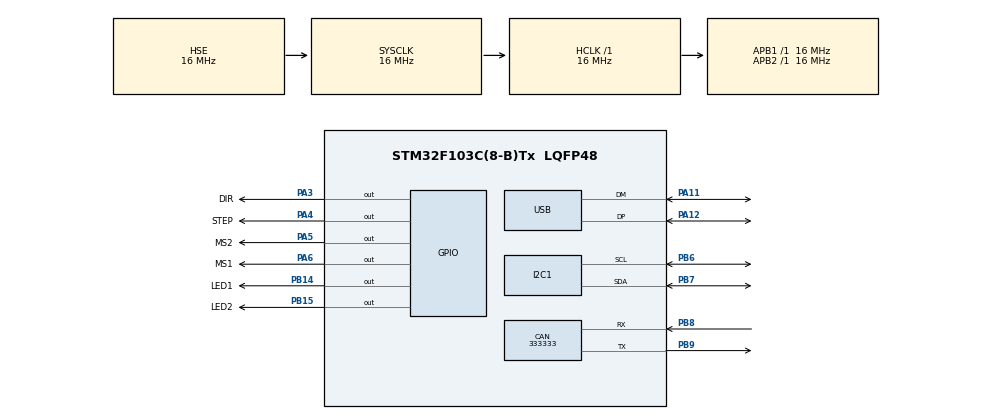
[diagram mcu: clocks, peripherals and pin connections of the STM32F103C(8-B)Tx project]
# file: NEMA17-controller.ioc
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CAN.CalculateBaudRate=333333
CAN.CalculateTimeBit=3000
CAN.CalculateTimeQuantum=1000.0
Mcu.Family=STM32F1
Mcu.Name=STM32F103C(8-B)Tx
Mcu.Package=LQFP48
NVIC.PriorityGroup=NVIC_PRIORITYGROUP_4
NVIC.USB_LP_CAN1_RX0_IRQn=true\:0\:0\:false\:false\:true\:false\:true\:true
PA11.Mode=Device
PA11.Signal=USB_DM
PA12.Mode=Device
PA12.Signal=USB_DP
PA13.Mode=Serial_Wire
PA13.Signal=SYS_JTMS-SWDIO
PA14.Mode=Serial_Wire
PA14.Signal=SYS_JTCK-SWCLK
PA3.GPIO_Label=DIR
PA3.Signal=GPIO_Output
PA4.GPIO_Label=STEP
PA4.Signal=GPIO_Output
PA5.GPIO_Label=MS2
PA5.Signal=GPIO_Output
PA6.GPIO_Label=MS1
PA6.Signal=GPIO_Output
PB14.GPIO_Label=LED1
PB14.Signal=GPIO_Output
PB15.GPIO_Label=LED2
PB15.Signal=GPIO_Output
PB6.Mode=I2C
PB6.Signal=I2C1_SCL
PB7.Mode=I2C
PB7.Signal=I2C1_SDA
PB8.Mode=CAN_Activate
PB8.Signal=CAN_RX
PB9.Mode=CAN_Activate
PB9.Signal=CAN_TX
PD0-OSC_IN.Mode=HSE-External-Oscillator
PD0-OSC_IN.Signal=RCC_OSC_IN
PD1-OSC_OUT.Mode=HSE-External-Oscillator
PD1-OSC_OUT.Signal=RCC_OSC_OUT
ProjectManager.HeapSize=0x200
ProjectManager.StackSize=0x400
ProjectManager.TargetToolchain=CMake
RCC.AHBFreq_Value=16000000
RCC.APB1Freq_Value=16000000
RCC.APB1TimFreq_Value=16000000
RCC.APB2Freq_Value=16000000
RCC.APB2TimFreq_Value=16000000
RCC.HCLKFreq_Value=16000000
RCC.HSE_VALUE=16000000
RCC.PLLMUL=RCC_PLL_MUL3
RCC.SYSCLKFreq_VALUE=16000000
RCC.SYSCLKSource=RCC_SYSCLKSOURCE_HSE
RCC.USBFreq_Value=48000000
TIM2.Prescaler=15
USB_DEVICE.CLASS_NAME_FS=DFU
USB_DEVICE.VirtualMode=Dfu
USB_DEVICE.VirtualModeFS=Dfu_FS
VP_TIM2_VS_ClockSourceINT.Mode=Internal
VP_USB_DEVICE_VS_USB_DEVICE_DFU_FS.Mode=DFU_FS
board=custom

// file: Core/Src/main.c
/* USER CODE BEGIN Header */
/**
  ******************************************************************************
  * @file           : main.c
  * @brief          : Main program body
  ******************************************************************************
  * @attention
  *
  * Copyright (c) 2025 STMicroelectronics.
  * All rights reserved.
  *
  * This software is licensed under terms that can be found in the LICENSE file
  * in the root directory of this software component.
  * If no LICENSE file comes with this software, it is provided AS-IS.
  *
  ******************************************************************************
  */
/* USER CODE END Header */
#include "main.h"
#include "stm32f1xx_hal.h"
#include "usb_device.h"

/* USER CODE BEGIN PM */
#define STEP_WRITE(x) HAL_GPIO_WritePin(STEP_GPIO_Port, STEP_Pin, (x)?GPIO_PIN_SET:GPIO_PIN_RESET)
#define DIR_FWD()     HAL_GPIO_WritePin(DIR_GPIO_Port,  DIR_Pin,  GPIO_PIN_SET)
#define DIR_REV()     HAL_GPIO_WritePin(DIR_GPIO_Port,  DIR_Pin,  GPIO_PIN_RESET)
//#define EN_ON()       HAL_GPIO_WritePin(EN_GPIO_Port,   EN_Pin,   GPIO_PIN_RESET)
//#define EN_OFF()      HAL_GPIO_WritePin(EN_GPIO_Port,   EN_Pin,   GPIO_PIN_SET)

/* USER CODE END PM */

CAN_HandleTypeDef hcan;

I2C_HandleTypeDef hi2c1;

TIM_HandleTypeDef htim2;

/* USER CODE BEGIN PV */
uint8_t RX_Buffer [1] ; // DATA to receive

/* USER CODE END PV */

void SystemClock_Config(void);
static void MX_GPIO_Init(void);
static void MX_CAN_Init(void);
static void MX_I2C1_Init(void);
static void MX_TIM2_Init(void);

/* USER CODE BEGIN 0 */
static inline void delay_us(uint32_t us)
{
    uint16_t start = __HAL_TIM_GET_COUNTER(&htim2);
    while ((uint16_t)(__HAL_TIM_GET_COUNTER(&htim2) - start) < us) {
        //__NOP();
    }
}

static inline void STEP_PULSE_US(uint16_t high_us, uint16_t low_us)
{
    STEP_WRITE(1);
    delay_us(high_us);
    STEP_WRITE(0);
    delay_us(low_us);
}

void Stepper_MoveSteps(uint32_t steps, int dir, uint16_t step_high_us, uint16_t step_low_us)
{
    if (dir >= 0) { DIR_FWD(); } else { DIR_REV(); }

    //EN_ON();                 // TMC2209 enable is active-low
    delay_us(10);            // tiny settle

    for (uint32_t i = 0; i < steps; i++) {
        STEP_PULSE_US(step_high_us, step_low_us);
    }

    //EN_OFF();                // optional: disable when done
}

/* USER CODE END 0 */

int main(void)
{

  /* MCU Configuration--------------------------------------------------------*/

  /* Reset of all peripherals, Initializes the Flash interface and the Systick. */
  HAL_Init();

  /* Configure the system clock */
  SystemClock_Config();

  /* Initialize all configured peripherals */
  MX_GPIO_Init();
  MX_CAN_Init();
  MX_I2C1_Init();
  MX_USB_DEVICE_Init();
  MX_TIM2_Init();
  /* USER CODE BEGIN 2 */
  HAL_TIM_Base_Start(&htim2);  // start 1 MHz timer
  HAL_I2C_Slave_Receive_IT(&hi2c1 ,(uint8_t *)RX_Buffer, 1); //Receiving in Interrupt mode
  HAL_Delay(100);

  // One-time initial states (run once after init)
  DIR_FWD();         // set default direction
  STEP_WRITE(0);     // make sure STEP starts low
  HAL_GPIO_WritePin(LED2_GPIO_Port, LED2_Pin, GPIO_PIN_SET); // Turn on LED2 to indicate ready

  /* USER CODE END 2 */

  /* Infinite loop */
  /* USER CODE BEGIN WHILE */
  while (1)
  {
    HAL_GPIO_TogglePin(LED1_GPIO_Port, LED1_Pin); // Toggle LED1
    HAL_Delay(100);
    HAL_GPIO_TogglePin(LED2_GPIO_Port, LED2_Pin); // Toggle LED2
    HAL_Delay(100);

    /* USER CODE END WHILE */

    /* USER CODE BEGIN 3 */
    Stepper_MoveSteps(1600, +1, 3, 997);  // ~1 kHz steps, 3 µs high
    HAL_Delay(500);
    Stepper_MoveSteps(1600, -1, 3, 997);
    HAL_Delay(500);
  }
  /* USER CODE END 3 */
}

void SystemClock_Config(void)
{
  RCC_OscInitTypeDef RCC_OscInitStruct = {0};
  RCC_ClkInitTypeDef RCC_ClkInitStruct = {0};
  RCC_PeriphCLKInitTypeDef PeriphClkInit = {0};

  /** Initializes the RCC Oscillators according to the specified parameters
  * in the RCC_OscInitTypeDef structure.
  */
  RCC_OscInitStruct.OscillatorType = RCC_OSCILLATORTYPE_HSE;
  RCC_OscInitStruct.HSEState = RCC_HSE_ON;
  RCC_OscInitStruct.HSEPredivValue = RCC_HSE_PREDIV_DIV1;
  RCC_OscInitStruct.HSIState = RCC_HSI_ON;
  RCC_OscInitStruct.PLL.PLLState = RCC_PLL_ON;
  RCC_OscInitStruct.PLL.PLLSource = RCC_PLLSOURCE_HSE;
  RCC_OscInitStruct.PLL.PLLMUL = RCC_PLL_MUL3;
  if (HAL_RCC_OscConfig(&RCC_OscInitStruct) != HAL_OK)
  {
    Error_Handler();
  }

  /** Initializes the CPU, AHB and APB buses clocks
  */
  RCC_ClkInitStruct.ClockType = RCC_CLOCKTYPE_HCLK|RCC_CLOCKTYPE_SYSCLK
                              |RCC_CLOCKTYPE_PCLK1|RCC_CLOCKTYPE_PCLK2;
  RCC_ClkInitStruct.SYSCLKSource = RCC_SYSCLKSOURCE_HSE;
  RCC_ClkInitStruct.AHBCLKDivider = RCC_SYSCLK_DIV1;
  RCC_ClkInitStruct.APB1CLKDivider = RCC_HCLK_DIV1;
  RCC_ClkInitStruct.APB2CLKDivider = RCC_HCLK_DIV1;

  if (HAL_RCC_ClockConfig(&RCC_ClkInitStruct, FLASH_LATENCY_0) != HAL_OK)
  {
    Error_Handler();
  }
  PeriphClkInit.PeriphClockSelection = RCC_PERIPHCLK_USB;
  PeriphClkInit.UsbClockSelection = RCC_USBCLKSOURCE_PLL;
  if (HAL_RCCEx_PeriphCLKConfig(&PeriphClkInit) != HAL_OK)
  {
    Error_Handler();
  }
}

static void MX_CAN_Init(void)
{

  hcan.Instance = CAN1;
  hcan.Init.Prescaler = 16;
  hcan.Init.Mode = CAN_MODE_NORMAL;
  hcan.Init.SyncJumpWidth = CAN_SJW_1TQ;
  hcan.Init.TimeSeg1 = CAN_BS1_1TQ;
  hcan.Init.TimeSeg2 = CAN_BS2_1TQ;
  hcan.Init.TimeTriggeredMode = DISABLE;
  hcan.Init.AutoBusOff = DISABLE;
  hcan.Init.AutoWakeUp = DISABLE;
  hcan.Init.AutoRetransmission = DISABLE;
  hcan.Init.ReceiveFifoLocked = DISABLE;
  hcan.Init.TransmitFifoPriority = DISABLE;
  if (HAL_CAN_Init(&hcan) != HAL_OK)
  {
    Error_Handler();
  }

}

static void MX_I2C1_Init(void)
{

  hi2c1.Instance = I2C1;
  hi2c1.Init.ClockSpeed = 100000;
  hi2c1.Init.DutyCycle = I2C_DUTYCYCLE_2;
  hi2c1.Init.OwnAddress1 = 0;
  hi2c1.Init.AddressingMode = I2C_ADDRESSINGMODE_7BIT;
  hi2c1.Init.DualAddressMode = I2C_DUALADDRESS_DISABLE;
  hi2c1.Init.OwnAddress2 = 0;
  hi2c1.Init.GeneralCallMode = I2C_GENERALCALL_DISABLE;
  hi2c1.Init.NoStretchMode = I2C_NOSTRETCH_DISABLE;
  if (HAL_I2C_Init(&hi2c1) != HAL_OK)
  {
    Error_Handler();
  }

}

static void MX_TIM2_Init(void)
{

  TIM_ClockConfigTypeDef sClockSourceConfig = {0};
  TIM_MasterConfigTypeDef sMasterConfig = {0};

  htim2.Instance = TIM2;
  htim2.Init.Prescaler = 15;
  htim2.Init.CounterMode = TIM_COUNTERMODE_UP;
  htim2.Init.Period = 65535;
  htim2.Init.ClockDivision = TIM_CLOCKDIVISION_DIV1;
  htim2.Init.AutoReloadPreload = TIM_AUTORELOAD_PRELOAD_DISABLE;
  if (HAL_TIM_Base_Init(&htim2) != HAL_OK)
  {
    Error_Handler();
  }
  sClockSourceConfig.ClockSource = TIM_CLOCKSOURCE_INTERNAL;
  if (HAL_TIM_ConfigClockSource(&htim2, &sClockSourceConfig) != HAL_OK)
  {
    Error_Handler();
  }
  sMasterConfig.MasterOutputTrigger = TIM_TRGO_RESET;
  sMasterConfig.MasterSlaveMode = TIM_MASTERSLAVEMODE_DISABLE;
  if (HAL_TIMEx_MasterConfigSynchronization(&htim2, &sMasterConfig) != HAL_OK)
  {
    Error_Handler();
  }

}

static void MX_GPIO_Init(void)
{
  GPIO_InitTypeDef GPIO_InitStruct = {0};

  /* GPIO Ports Clock Enable */
  __HAL_RCC_GPIOD_CLK_ENABLE();
  __HAL_RCC_GPIOA_CLK_ENABLE();
  __HAL_RCC_GPIOB_CLK_ENABLE();

  /*Configure GPIO pin Output Level */
  HAL_GPIO_WritePin(GPIOA, DIR_Pin|STEP_Pin|MS2_Pin|MS1_Pin, GPIO_PIN_RESET);

  /*Configure GPIO pin Output Level */
  HAL_GPIO_WritePin(GPIOB, LED1_Pin|LED2_Pin, GPIO_PIN_RESET);

  /*Configure GPIO pins : DIR_Pin STEP_Pin MS2_Pin MS1_Pin */
  GPIO_InitStruct.Pin = DIR_Pin|STEP_Pin|MS2_Pin|MS1_Pin;
  GPIO_InitStruct.Mode = GPIO_MODE_OUTPUT_PP;
  GPIO_InitStruct.Pull = GPIO_NOPULL;
  GPIO_InitStruct.Speed = GPIO_SPEED_FREQ_LOW;
  HAL_GPIO_Init(GPIOA, &GPIO_InitStruct);

  /*Configure GPIO pins : LED1_Pin LED2_Pin */
  GPIO_InitStruct.Pin = LED1_Pin|LED2_Pin;
  GPIO_InitStruct.Mode = GPIO_MODE_OUTPUT_PP;
  GPIO_InitStruct.Pull = GPIO_NOPULL;
  GPIO_InitStruct.Speed = GPIO_SPEED_FREQ_LOW;
  HAL_GPIO_Init(GPIOB, &GPIO_InitStruct);

}

void Error_Handler(void)
{
  __disable_irq();
  while (1)
  {
  }
}
